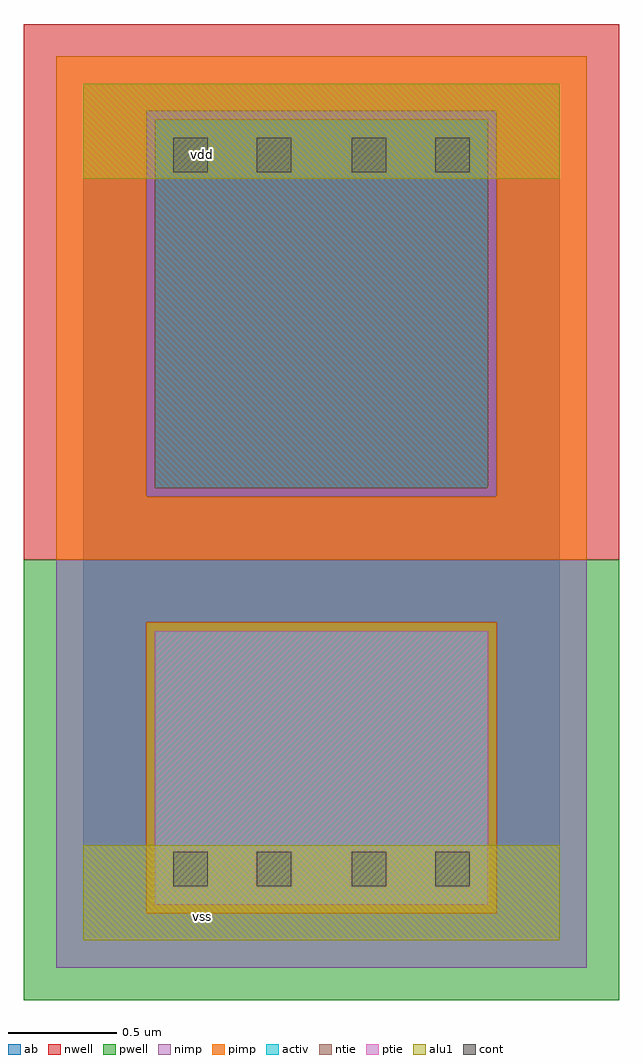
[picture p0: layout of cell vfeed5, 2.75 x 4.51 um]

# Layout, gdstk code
import gdstk
lib = gdstk.Library(unit=1e-6, precision=2.5e-09)
def R(c, l, rs):  # rectangles x0, y0, x1, y1
    for r in rs: c.add(gdstk.rectangle(r[:2], r[2:], *l))
ntie = (5, 0)
ptie = (6, 0)
cont = (25, 0)
pwell = (41, 0)
nwell = (42, 0)
activ = (43, 0)
pimp = (44, 0)
nimp = (45, 0)
alu1 = (49, 0)
ab = (63, 0)

vfeed5 = lib.new_cell('vfeed5')
R(vfeed5, ntie, [(0.33,2.09,1.87,3.795)])
R(vfeed5, ptie, [(0.33,0.165,1.87,1.43)])
R(vfeed5, cont, [(0.415,0.25,0.575,0.41), (0.8,0.25,0.96,0.41), (1.24,0.25,1.4,0.41), (1.625,0.25,1.785,0.41), (0.415,3.55,0.575,3.71), (0.8,3.55,0.96,3.71), (1.24,3.55,1.4,3.71), (1.625,3.55,1.785,3.71)])
R(vfeed5, pwell, [(-0.275,-0.275,2.475,1.76)])
R(vfeed5, nwell, [(-0.275,1.76,2.475,4.235)])
R(vfeed5, activ, [(0.33,0.165,1.87,1.43), (0.33,2.09,1.87,3.795)])
R(vfeed5, pimp, [(0.29,0.125,1.91,1.47), (-0.125,1.76,2.325,2.05), (-0.125,2.05,0.29,3.835), (1.91,2.05,2.325,3.835), (-0.125,3.835,2.325,4.085)])
R(vfeed5, nimp, [(-0.125,-0.125,2.325,0.125), (-0.125,0.125,0.29,1.47), (1.91,0.125,2.325,1.47), (-0.125,1.47,2.325,1.76), (0.29,2.05,1.91,3.835)])
R(vfeed5, alu1, [(0,0,2.2,0.44), (0,3.52,2.2,3.96)])
R(vfeed5, ab, [(0,0,2.2,3.96)])
vfeed5.add(gdstk.Label('vss', (0.55,0.11), layer=49, texttype=0))
vfeed5.add(gdstk.Label('vdd', (0.55,3.63), layer=49, texttype=0))

lib.write_gds('vfeed5.gds')
